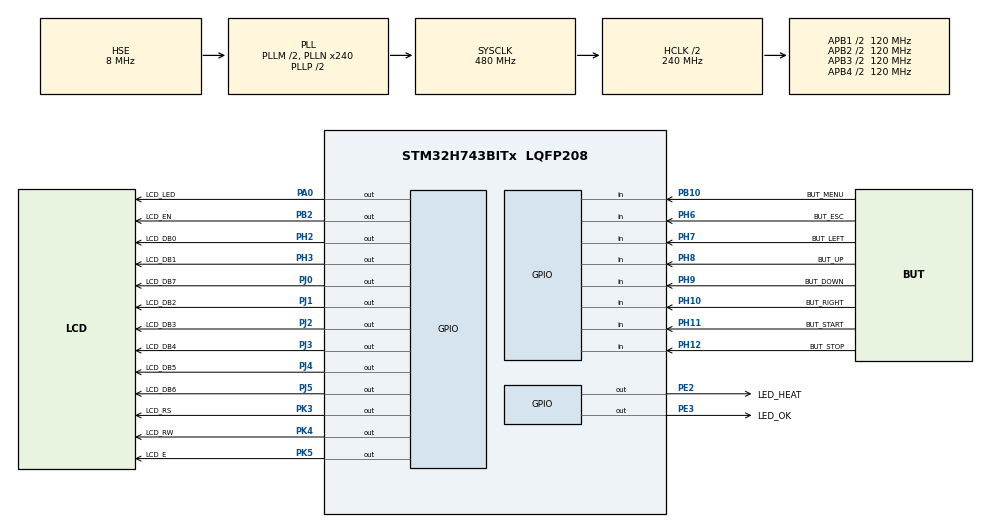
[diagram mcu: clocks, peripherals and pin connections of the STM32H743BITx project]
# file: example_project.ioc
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CORTEX_M7.default_mode_Activation=1
Mcu.Family=STM32H7
Mcu.Name=STM32H743BITx
Mcu.Package=LQFP208
NVIC.PriorityGroup=NVIC_PRIORITYGROUP_4
PA0.GPIO_Label=LCD_LED
PA0.GPIO_ModeDefaultOutputPP=GPIO_MODE_OUTPUT_PP
PA0.GPIO_PuPd=GPIO_NOPULL
PA0.GPIO_Speed=GPIO_SPEED_FREQ_VERY_HIGH
PA0.PinState=GPIO_PIN_RESET
PA0.Signal=GPIO_Output
PA13\ (JTMS/SWDIO).Mode=Trace_Asynchronous_SW
PA13\ (JTMS/SWDIO).Signal=DEBUG_JTMS-SWDIO
PA14\ (JTCK/SWCLK).Mode=Trace_Asynchronous_SW
PA14\ (JTCK/SWCLK).Signal=DEBUG_JTCK-SWCLK
PB10.GPIO_Label=BUT_MENU
PB10.GPIO_Mode=GPIO_MODE_INPUT
PB10.GPIO_PuPd=GPIO_NOPULL
PB10.Signal=GPIO_Input
PB2.GPIO_Label=LCD_EN
PB2.GPIO_ModeDefaultOutputPP=GPIO_MODE_OUTPUT_PP
PB2.GPIO_PuPd=GPIO_NOPULL
PB2.GPIO_Speed=GPIO_SPEED_FREQ_VERY_HIGH
PB2.PinState=GPIO_PIN_RESET
PB2.Signal=GPIO_Output
PB3\ (JTDO/TRACESWO).Mode=Trace_Asynchronous_SW
PB3\ (JTDO/TRACESWO).Signal=DEBUG_JTDO-SWO
PC14-OSC32_IN\ (OSC32_IN).Mode=LSE-External-Oscillator
PC14-OSC32_IN\ (OSC32_IN).Signal=RCC_OSC32_IN
PC15-OSC32_OUT\ (OSC32_OUT).Mode=LSE-External-Oscillator
PC15-OSC32_OUT\ (OSC32_OUT).Signal=RCC_OSC32_OUT
PE2.GPIO_Label=LED_HEAT
PE2.GPIO_ModeDefaultOutputPP=GPIO_MODE_OUTPUT_PP
PE2.GPIO_PuPd=GPIO_NOPULL
PE2.GPIO_Speed=GPIO_SPEED_FREQ_VERY_HIGH
PE2.PinState=GPIO_PIN_RESET
PE2.Signal=GPIO_Output
PE3.GPIO_Label=LED_OK
PE3.GPIO_ModeDefaultOutputPP=GPIO_MODE_OUTPUT_PP
PE3.GPIO_PuPd=GPIO_NOPULL
PE3.GPIO_Speed=GPIO_SPEED_FREQ_VERY_HIGH
PE3.PinState=GPIO_PIN_RESET
PE3.Signal=GPIO_Output
PH0-OSC_IN\ (PH0).Mode=HSE-External-Oscillator
PH0-OSC_IN\ (PH0).Signal=RCC_OSC_IN
PH1-OSC_OUT\ (PH1).Mode=HSE-External-Oscillator
PH1-OSC_OUT\ (PH1).Signal=RCC_OSC_OUT
PH10.GPIO_Label=BUT_RIGHT
PH10.GPIO_Mode=GPIO_MODE_INPUT
PH10.GPIO_PuPd=GPIO_NOPULL
PH10.Signal=GPIO_Input
PH11.GPIO_Label=BUT_START
PH11.GPIO_Mode=GPIO_MODE_INPUT
PH11.GPIO_PuPd=GPIO_NOPULL
PH11.Signal=GPIO_Input
PH12.GPIO_Label=BUT_STOP
PH12.GPIO_Mode=GPIO_MODE_INPUT
PH12.GPIO_PuPd=GPIO_NOPULL
PH12.Signal=GPIO_Input
PH2.GPIO_Label=LCD_DB0
PH2.GPIO_ModeDefaultOutputPP=GPIO_MODE_OUTPUT_PP
PH2.GPIO_PuPd=GPIO_NOPULL
PH2.GPIO_Speed=GPIO_SPEED_FREQ_VERY_HIGH
PH2.PinState=GPIO_PIN_RESET
PH2.Signal=GPIO_Output
PH3.GPIO_Label=LCD_DB1
PH3.GPIO_ModeDefaultOutputPP=GPIO_MODE_OUTPUT_PP
PH3.GPIO_PuPd=GPIO_NOPULL
PH3.GPIO_Speed=GPIO_SPEED_FREQ_VERY_HIGH
PH3.PinState=GPIO_PIN_RESET
PH3.Signal=GPIO_Output
PH6.GPIO_Label=BUT_ESC
PH6.GPIO_Mode=GPIO_MODE_INPUT
PH6.GPIO_PuPd=GPIO_NOPULL
PH6.Signal=GPIO_Input
PH7.GPIO_Label=BUT_LEFT
PH7.GPIO_Mode=GPIO_MODE_INPUT
PH7.GPIO_PuPd=GPIO_NOPULL
PH7.Signal=GPIO_Input
PH8.GPIO_Label=BUT_UP
PH8.GPIO_Mode=GPIO_MODE_INPUT
PH8.GPIO_PuPd=GPIO_NOPULL
PH8.Signal=GPIO_Input
PH9.GPIO_Label=BUT_DOWN
PH9.GPIO_Mode=GPIO_MODE_INPUT
PH9.GPIO_PuPd=GPIO_NOPULL
PH9.Signal=GPIO_Input
PJ0.GPIO_Label=LCD_DB7
PJ0.GPIO_ModeDefaultOutputPP=GPIO_MODE_OUTPUT_PP
PJ0.GPIO_PuPd=GPIO_NOPULL
PJ0.GPIO_Speed=GPIO_SPEED_FREQ_VERY_HIGH
PJ0.PinState=GPIO_PIN_RESET
PJ0.Signal=GPIO_Output
PJ1.GPIO_Label=LCD_DB2
PJ1.GPIO_ModeDefaultOutputPP=GPIO_MODE_OUTPUT_PP
PJ1.GPIO_PuPd=GPIO_NOPULL
PJ1.GPIO_Speed=GPIO_SPEED_FREQ_VERY_HIGH
PJ1.PinState=GPIO_PIN_RESET
PJ1.Signal=GPIO_Output
PJ2.GPIO_Label=LCD_DB3
PJ2.GPIO_ModeDefaultOutputPP=GPIO_MODE_OUTPUT_PP
PJ2.GPIO_PuPd=GPIO_NOPULL
PJ2.GPIO_Speed=GPIO_SPEED_FREQ_VERY_HIGH
PJ2.PinState=GPIO_PIN_RESET
PJ2.Signal=GPIO_Output
PJ3.GPIO_Label=LCD_DB4
PJ3.GPIO_ModeDefaultOutputPP=GPIO_MODE_OUTPUT_PP
PJ3.GPIO_PuPd=GPIO_NOPULL
PJ3.GPIO_Speed=GPIO_SPEED_FREQ_VERY_HIGH
PJ3.PinState=GPIO_PIN_RESET
PJ3.Signal=GPIO_Output
PJ4.GPIO_Label=LCD_DB5
PJ4.GPIO_ModeDefaultOutputPP=GPIO_MODE_OUTPUT_PP
PJ4.GPIO_PuPd=GPIO_NOPULL
PJ4.GPIO_Speed=GPIO_SPEED_FREQ_VERY_HIGH
PJ4.PinState=GPIO_PIN_RESET
PJ4.Signal=GPIO_Output
PJ5.GPIO_Label=LCD_DB6
PJ5.GPIO_ModeDefaultOutputPP=GPIO_MODE_OUTPUT_PP
PJ5.GPIO_PuPd=GPIO_NOPULL
PJ5.GPIO_Speed=GPIO_SPEED_FREQ_VERY_HIGH
PJ5.PinState=GPIO_PIN_RESET
PJ5.Signal=GPIO_Output
PK3.GPIO_Label=LCD_RS
PK3.GPIO_ModeDefaultOutputPP=GPIO_MODE_OUTPUT_PP
PK3.GPIO_PuPd=GPIO_NOPULL
PK3.GPIO_Speed=GPIO_SPEED_FREQ_VERY_HIGH
PK3.PinState=GPIO_PIN_RESET
PK3.Signal=GPIO_Output
PK4.GPIO_Label=LCD_RW
PK4.GPIO_ModeDefaultOutputPP=GPIO_MODE_OUTPUT_PP
PK4.GPIO_PuPd=GPIO_NOPULL
PK4.GPIO_Speed=GPIO_SPEED_FREQ_VERY_HIGH
PK4.PinState=GPIO_PIN_RESET
PK4.Signal=GPIO_Output
PK5.GPIO_Label=LCD_E
PK5.GPIO_ModeDefaultOutputPP=GPIO_MODE_OUTPUT_PP
PK5.GPIO_PuPd=GPIO_NOPULL
PK5.GPIO_Speed=GPIO_SPEED_FREQ_VERY_HIGH
PK5.PinState=GPIO_PIN_RESET
PK5.Signal=GPIO_Output
ProjectManager.HeapSize=0x400
ProjectManager.StackSize=0x100
ProjectManager.TargetToolchain=Makefile
RCC.ADCFreq_Value=16125000
RCC.APB1Freq_Value=120000000
RCC.APB2Freq_Value=120000000
RCC.APB3Freq_Value=120000000
RCC.APB4Freq_Value=120000000
RCC.CortexFreq_Value=480000000
RCC.D1PPRE=RCC_APB3_DIV2
RCC.D2PPRE1=RCC_APB1_DIV2
RCC.D2PPRE2=RCC_APB2_DIV2
RCC.D3PPRE=RCC_APB4_DIV2
RCC.DIVM1=2
RCC.DIVN1=240
RCC.HCLKFreq_Value=240000000
RCC.HPRE=RCC_HCLK_DIV2
RCC.HSE_VALUE=8000000
RCC.PLLSourceVirtual=RCC_PLLSOURCE_HSE
RCC.SYSCLKFreq_VALUE=480000000
RCC.SYSCLKSource=RCC_SYSCLKSOURCE_PLLCLK
RCC.USBFreq_Value=480000000
board=custom

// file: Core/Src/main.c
/* USER CODE BEGIN Header */
/**
  ******************************************************************************
  * @file           : main.c
  * @brief          : Main program body
  ******************************************************************************
  * @attention
  *
  * Copyright (c) 2024 STMicroelectronics.
  * All rights reserved.
  *
  * This software is licensed under terms that can be found in the LICENSE file
  * in the root directory of this software component.
  * If no LICENSE file comes with this software, it is provided AS-IS.
  *
  ******************************************************************************
  */
/* USER CODE END Header */
#include "main.h"
#include "gpio.h"

/* USER CODE BEGIN Includes */
#include <stdio.h>
/* USER CODE END Includes */

void SystemClock_Config(void);
static void MPU_Config(void);

/* USER CODE BEGIN 0 */
void SWO_ITM_enable(void)
{
  /*
    This functions recommends system speed of 480000000Hz and will
    use SWO clock speed of 2000000Hz

    # GDB OpenOCD commands to connect to this:
    monitor tpiu config internal - uart off 480000000
    monitor itm port 0 on

    Code Gen Ref: https://gist.github.com/mofosyne/178ad947fdff0f357eb0e03a42bcef5c
  */

  /* Setup SWO and SWO funnel (Note: SWO_BASE and SWTF_BASE not defined in stm32h743xx.h) */
  // DBGMCU_CR : Enable D3DBGCKEN D1DBGCKEN TRACECLKEN Clock Domains
  DBGMCU->CR =  DBGMCU_CR_DBG_CKD3EN | DBGMCU_CR_DBG_CKD1EN | DBGMCU_CR_DBG_TRACECKEN; // DBGMCU_CR
  // SWO_LAR & SWTF_LAR : Unlock SWO and SWO Funnel
  *((uint32_t *)(0x5c003fb0)) = 0xC5ACCE55; // SWO_LAR
  *((uint32_t *)(0x5c004fb0)) = 0xC5ACCE55; // SWTF_LAR
  // SWO_CODR  : 480000000Hz -> 2000000Hz
  // Note: SWOPrescaler = ((sysclock_Hz / SWOSpeed_Hz) - 1) --> 0x0000c7 = 239 = (480000000 / 2000000) - 1)
  *((uint32_t *)(0x5c003010)) = ((480000000 /  2000000) - 1); // SWO_CODR
  // SWO_SPPR : (2:  SWO NRZ, 1:  SWO Manchester encoding)
  *((uint32_t *)(0x5c0030f0)) = 0x00000002; // SWO_SPPR
  // SWTF_CTRL : enable SWO
  *((uint32_t *)(0x5c004000)) |= 0x1; // SWTF_CTRL
}
/* USER CODE END 0 */

int main(void)
{

  /* MPU Configuration--------------------------------------------------------*/
  MPU_Config();

  /* MCU Configuration--------------------------------------------------------*/

  /* Reset of all peripherals, Initializes the Flash interface and the Systick. */
  HAL_Init();

  /* Configure the system clock */
  SystemClock_Config();

  /* Initialize all configured peripherals */
  MX_GPIO_Init();
  /* USER CODE BEGIN 2 */
  SWO_ITM_enable();
  /* USER CODE END 2 */

  /* Infinite loop */
  while (1)
  {

    /* USER CODE BEGIN 3 */
    HAL_Delay(500);
    HAL_GPIO_TogglePin(LED_HEAT_GPIO_Port, LED_HEAT_Pin);
    static int counter = 0;
    printf("Displayed message: counter = %d\n", counter++);
  }
  /* USER CODE END 3 */
}

void SystemClock_Config(void)
{
  RCC_OscInitTypeDef RCC_OscInitStruct = {0};
  RCC_ClkInitTypeDef RCC_ClkInitStruct = {0};

  /** Supply configuration update enable
  */
  HAL_PWREx_ConfigSupply(PWR_LDO_SUPPLY);

  /** Configure the main internal regulator output voltage
  */
  __HAL_PWR_VOLTAGESCALING_CONFIG(PWR_REGULATOR_VOLTAGE_SCALE1);

  while(!__HAL_PWR_GET_FLAG(PWR_FLAG_VOSRDY)) {}

  __HAL_RCC_SYSCFG_CLK_ENABLE();
  __HAL_PWR_VOLTAGESCALING_CONFIG(PWR_REGULATOR_VOLTAGE_SCALE0);

  while(!__HAL_PWR_GET_FLAG(PWR_FLAG_VOSRDY)) {}

  /** Initializes the RCC Oscillators according to the specified parameters
  * in the RCC_OscInitTypeDef structure.
  */
  RCC_OscInitStruct.OscillatorType = RCC_OSCILLATORTYPE_HSE;
  RCC_OscInitStruct.HSEState = RCC_HSE_ON;
  RCC_OscInitStruct.PLL.PLLState = RCC_PLL_ON;
  RCC_OscInitStruct.PLL.PLLSource = RCC_PLLSOURCE_HSE;
  RCC_OscInitStruct.PLL.PLLM = 2;
  RCC_OscInitStruct.PLL.PLLN = 240;
  RCC_OscInitStruct.PLL.PLLP = 2;
  RCC_OscInitStruct.PLL.PLLQ = 2;
  RCC_OscInitStruct.PLL.PLLR = 2;
  RCC_OscInitStruct.PLL.PLLRGE = RCC_PLL1VCIRANGE_2;
  RCC_OscInitStruct.PLL.PLLVCOSEL = RCC_PLL1VCOWIDE;
  RCC_OscInitStruct.PLL.PLLFRACN = 0;
  if (HAL_RCC_OscConfig(&RCC_OscInitStruct) != HAL_OK)
  {
    Error_Handler();
  }

  /** Initializes the CPU, AHB and APB buses clocks
  */
  RCC_ClkInitStruct.ClockType = RCC_CLOCKTYPE_HCLK|RCC_CLOCKTYPE_SYSCLK
                              |RCC_CLOCKTYPE_PCLK1|RCC_CLOCKTYPE_PCLK2
                              |RCC_CLOCKTYPE_D3PCLK1|RCC_CLOCKTYPE_D1PCLK1;
  RCC_ClkInitStruct.SYSCLKSource = RCC_SYSCLKSOURCE_PLLCLK;
  RCC_ClkInitStruct.SYSCLKDivider = RCC_SYSCLK_DIV1;
  RCC_ClkInitStruct.AHBCLKDivider = RCC_HCLK_DIV2;
  RCC_ClkInitStruct.APB3CLKDivider = RCC_APB3_DIV2;
  RCC_ClkInitStruct.APB1CLKDivider = RCC_APB1_DIV2;
  RCC_ClkInitStruct.APB2CLKDivider = RCC_APB2_DIV2;
  RCC_ClkInitStruct.APB4CLKDivider = RCC_APB4_DIV2;

  if (HAL_RCC_ClockConfig(&RCC_ClkInitStruct, FLASH_LATENCY_4) != HAL_OK)
  {
    Error_Handler();
  }
}

/* USER CODE BEGIN 4 */
int _write(int file, char *ptr, int len)
{
  int DataIdx;

	for (DataIdx = 0; DataIdx < len; DataIdx++)
	{
		ITM_SendChar(*ptr++);
	}
	return len;
}
/* USER CODE END 4 */

/* MPU Configuration */

void MPU_Config(void)
{
  MPU_Region_InitTypeDef MPU_InitStruct = {0};

  /* Disables the MPU */
  HAL_MPU_Disable();

  /** Initializes and configures the Region and the memory to be protected
  */
  MPU_InitStruct.Enable = MPU_REGION_ENABLE;
  MPU_InitStruct.Number = MPU_REGION_NUMBER0;
  MPU_InitStruct.BaseAddress = 0x0;
  MPU_InitStruct.Size = MPU_REGION_SIZE_4GB;
  MPU_InitStruct.SubRegionDisable = 0x87;
  MPU_InitStruct.TypeExtField = MPU_TEX_LEVEL0;
  MPU_InitStruct.AccessPermission = MPU_REGION_NO_ACCESS;
  MPU_InitStruct.DisableExec = MPU_INSTRUCTION_ACCESS_DISABLE;
  MPU_InitStruct.IsShareable = MPU_ACCESS_SHAREABLE;
  MPU_InitStruct.IsCacheable = MPU_ACCESS_NOT_CACHEABLE;
  MPU_InitStruct.IsBufferable = MPU_ACCESS_NOT_BUFFERABLE;

  HAL_MPU_ConfigRegion(&MPU_InitStruct);
  /* Enables the MPU */
  HAL_MPU_Enable(MPU_PRIVILEGED_DEFAULT);

}

void Error_Handler(void)
{
  __disable_irq();
  while (1)
  {
  }
}
